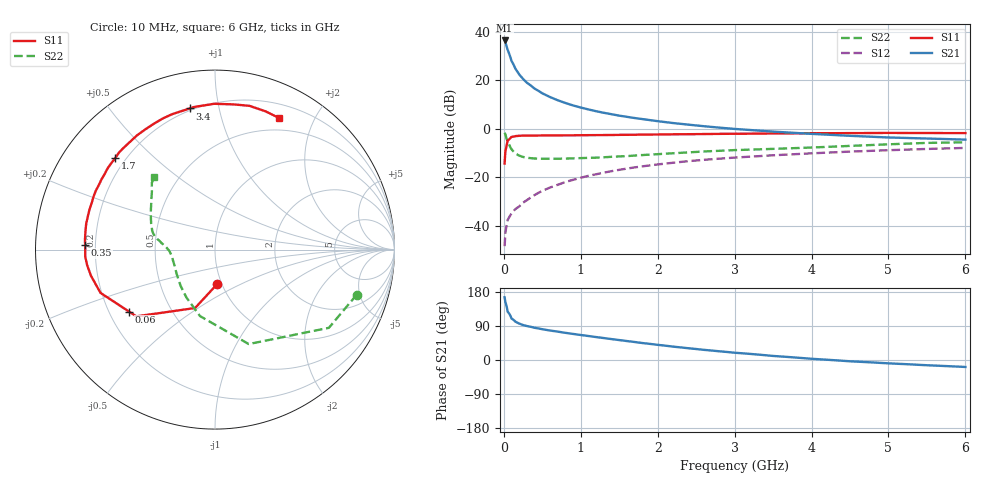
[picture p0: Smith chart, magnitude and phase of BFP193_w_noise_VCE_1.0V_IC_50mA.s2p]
! (c) 2017  Infineon Technologies AG, Munich
! Infineon Technologies  Discrete & RF Semiconductors
! BFP193
! VCE =  1.0 V,  IC =  50 mA
! Common Emitter S-Parameters:  Jan 2017
# GHz  S  MA  R  50
!  f  S11  S21  S12  S22
! GHz  MAG  ANG  MAG  ANG  MAG  ANG  MAG  ANG
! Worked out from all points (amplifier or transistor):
!   77 points, 10 MHz to 6 GHz, reference 50 ohm
!   highest |S21| = 36.4 dB at 10 MHz (marker M1)
!   |S21| within 3 dB of that: start of sweep to 41 MHz
!   unconditionally stable (mu >= 1): 356.3 MHz to 3.379 GHz
!   at 130 MHz: K = 0.70, MSG = 30.0 dB, |S12| = -33.8 dB
!   at 2.2 GHz: K = 1.04, MAG = 7.0 dB, |S12| = -14.0 dB
!   at 6 GHz: K = 0.99, MSG = 1.7 dB, |S12| = -7.9 dB
!   lowest NFmin = 1.52 dB at 450 MHz
!   S11 on the Smith chart (normalised r, x): 10 MHz: 0.95, -0.38; 60 MHz: 0.28, -0.30; 350 MHz: 0.16, +0.02; 1.7 GHz: 0.16, +0.38; 3.4 GHz: 0.19, +0.82; 6 GHz: 0.35, +1.54
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0.01  0.1923 -86.3  66.4 165.5  0.0038 76.6  0.8288 -17.6
0.02  0.3436 -108.8  61.58 152.8  0.0071 68.4  0.7697 -34.5
0.05  0.5748 -139.7  42.3 127.3  0.0132 53.9  0.5585 -70.4
0.06  0.5901 -144.1  38.66 125.0  0.0141 53.4  0.5126 -74.9
0.1  0.6821 -159.3  25.15 109.3  0.0179 51.8  0.3797 -102.7
0.15  0.7063 -168.1  17.41 101.2  0.0221 54.4  0.3105 -120.9
0.2  0.7177 -173.1  13.24 96.1  0.0251 57.9  0.2796 -132.9
0.25  0.7239 -176.9  10.66 92.3  0.03 60.5  0.2628 -141.0
0.3  0.723 -179.6  8.917 89.6  0.0338 62.0  0.2531 -147.5
0.35  0.7241 178.0  7.822 87.6  0.0384 63.9  0.2481 -151.5
0.4  0.7265 175.7  6.74 85.0  0.0431 65.4  0.2444 -155.7
0.5  0.7291 171.8  5.401 81.2  0.0526 66.3  0.2416 -161.3
0.6  0.732 168.5  4.522 77.8  0.0615 66.3  0.2419 -165.5
0.8  0.7341 162.3  3.409 71.7  0.0799 66.6  0.2432 -171.1
1.1  0.7405 153.7  2.507 63.3  0.1073 63.8  0.2515 -176.8
1.7  0.7542 137.4  1.67 47.5  0.1601 56.4  0.281 175.9
2.1  0.7662 127.0  1.375 37.8  0.1918 50.9  0.3067 172.0
3.1  0.7921 105.6  0.97 17.7  0.2606 37.0  0.368 162.4
3.4  0.7991 100.1  0.898 12.6  0.2784 33.3  0.381 158.6
4.1  0.8119 88.8  0.772 2.0  0.3173 24.7  0.4177 148.8
5.1  0.8221 75.2  0.656 -9.8  0.3665 12.9  0.4855 136.4
6  0.8154 64.2  0.599 -18.4  0.4038 2.8  0.527 129.9
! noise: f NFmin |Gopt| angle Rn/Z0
0.45  1.52  0.43  -170  0.08
0.9  1.57  0.45  -164  0.09
1.9  2.2  0.61  -132  0.23
2.4  2.55  0.64  -119  0.48
